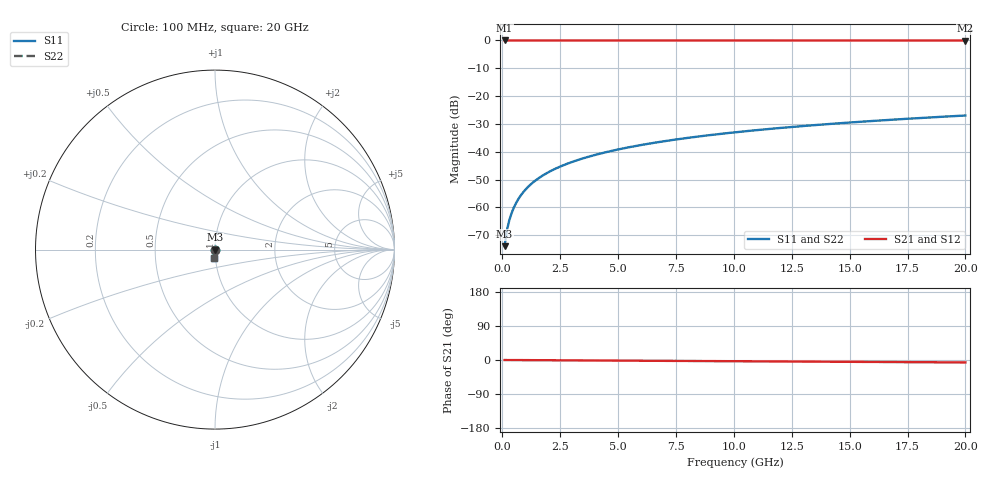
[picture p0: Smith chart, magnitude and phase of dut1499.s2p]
! Touchstone file exported from HFSS 2026.1.0
!  File:  C:/ffzhzh/LocalFiles/Ansys_Project_Files/temp_train_TSV_1499_1783198944_43440.aedt
!  Generated:  05:03:47 AM Jul  5, 2026
!  Design:  TSV
!  Project:  temp_train_TSV_1499_1783198944_43440
! Variables:
!  h_bsmrdl = 2um
!  h_ox = 20um
!  h_rdl = 5um
!  h_sub = 59.49um
!  h_tmrdl = 5um
!  h_tsv = 59.49um
!  h_via = 3um
!  l_bsmrdl = 300um
!  l_sub = 426.78um
!  l_tmrdl = 200um
!  m_sub = 200um
!  pitch = 37.78um
!  r_tsv = 13.39um
!  s_tmrdl = 10um
!  w_bsmrdl = 18um
!  w_sub = 500um
!  w_tmrdl = 12um
!  x_tsv_center1 = 206um
!  x_tsv_center2 = 524um
!  x_tsv_center3 = 736um
!  x_tsv_center4 = 1054um
!  x_tsv_center5 = 1266um
!  x_tsv_center6 = 1584um
# GHz S MA R 50.000000
! Terminal data exported
! Port[1] = TSV1_1_T1
! Port[2] = TSV1_1_T2
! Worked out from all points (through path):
!   200 points, 100 MHz to 20 GHz, reference 50 ohm
!   highest |S21| = 0.00 dB at 100 MHz (marker M1); lowest = 0.0 dB at 20 GHz (marker M2)
!   lowest |S11| = -73.9 dB at 100 MHz (marker M3), VSWR 1.00, Z = 50 - j0.0188 ohm
!   |S11| at or under -10 dB: start of sweep to end of sweep
!   |S22| runs from -73.9 to -27.0 dB; largest |S21 - S12| = 2.3e-15
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0.1  0.0002018 -68.7  0.9999 -0.0  0.9999 -0.0  0.0002018 -68.7
! Gamma 0 0 0 0
! Port Impedance 50 0 50 0
0.2  0.0003887 -77.3  0.9999 -0.1  0.9999 -0.1  0.0003887 -77.3
0.3  0.0005851 -79.9  0.9999 -0.1  0.9999 -0.1  0.0005851 -79.9
0.4  0.0007887 -81.1  0.9999 -0.1  0.9999 -0.1  0.0007887 -81.1
0.5  0.0009983 -81.8  0.9999 -0.2  0.9999 -0.2  0.0009983 -81.8
0.7  0.00143 -82.9  0.9998 -0.2  0.9998 -0.2  0.00143 -82.9
0.8  0.001649 -83.3  0.9998 -0.3  0.9998 -0.3  0.001649 -83.3
1  0.002092 -84.1  0.9998 -0.3  0.9998 -0.3  0.002092 -84.1
1.2  0.002536 -84.8  0.9997 -0.4  0.9997 -0.4  0.002536 -84.8
1.4  0.002982 -85.4  0.9997 -0.5  0.9997 -0.5  0.002982 -85.4
1.7  0.003649 -86.1  0.9997 -0.6  0.9997 -0.6  0.003649 -86.1
2  0.004316 -86.6  0.9997 -0.7  0.9997 -0.7  0.004316 -86.6
2.7  0.005873 -87.5  0.9996 -0.9  0.9996 -0.9  0.005873 -87.5
3.5  0.007655 -88.2  0.9996 -1.1  0.9996 -1.1  0.007655 -88.2
4.2  0.009219 -88.7  0.9995 -1.4  0.9995 -1.4  0.009219 -88.7
5  0.01101 -89.2  0.9995 -1.6  0.9995 -1.6  0.01101 -89.2
6.8  0.01506 -90.1  0.9993 -2.2  0.9993 -2.2  0.01506 -90.1
8.3  0.01844 -90.8  0.9992 -2.7  0.9992 -2.7  0.01844 -90.8
10.1  0.02251 -91.6  0.9991 -3.3  0.9991 -3.3  0.02251 -91.6
13.4  0.02996 -92.8  0.9988 -4.3  0.9988 -4.3  0.02996 -92.8
16.7  0.03742 -94.1  0.9984 -5.4  0.9984 -5.4  0.03742 -94.1
20  0.04487 -95.2  0.998 -6.4  0.998 -6.4  0.04487 -95.2
